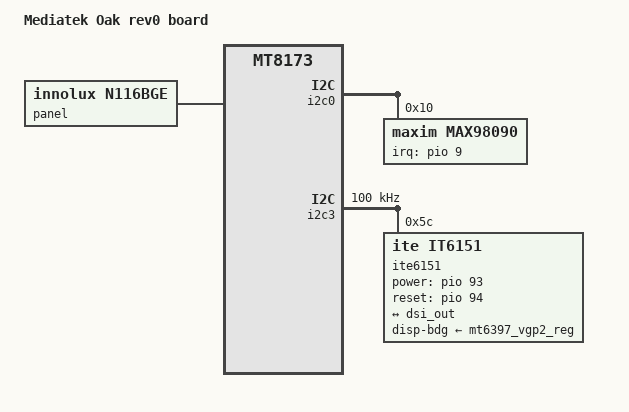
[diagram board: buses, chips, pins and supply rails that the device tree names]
/*
 * Copyright (c) 2014 MediaTek Inc.
 * Author: Eddie Huang <eddie.huang@mediatek.com>
 *
 * This program is free software; you can redistribute it and/or modify
 * it under the terms of the GNU General Public License version 2 as
 * published by the Free Software Foundation.
 *
 * This program is distributed in the hope that it will be useful,
 * but WITHOUT ANY WARRANTY; without even the implied warranty of
 * MERCHANTABILITY or FITNESS FOR A PARTICULAR PURPOSE.  See the
 * GNU General Public License for more details.
 */

/dts-v1/;
#include "mt8173-oak.dtsi"

/ {
	model = "Mediatek Oak rev0 board";
	compatible = "google,oak-rev0", "google,oak", "mediatek,mt8173";

	backlight_lcd: backlight_lcd {
		enable-gpios = <&pio6397 23 1>;
	};

	panel: panel {
		compatible = "innolux,n116bge";
	};

	sound {
		compatible = "mediatek,mt8173-max98090";
		mediatek,audio-codec = <&max98090>;
		dvdd-supply = <&mt6397_vgp1_reg>;
		avdd-supply = <&mt6397_vgp4_reg>;
		pinctrl-names = "default";
		pinctrl-0 = <&aud_i2s2>;
		status = "okay";
	};
};

&charger {
	status = "disabled";
};

&dsi {
	mediatek,width = <1368>;
	mediatek,height = <768>;
};

&i2c0 {
	max98090: audio-codec@10 {
		compatible = "maxim,max98090";
		reg = <0x10>;
		interrupt-parent = <&pio>;
		interrupts = <9 IRQ_TYPE_EDGE_FALLING>;
		pinctrl-names = "default";
		pinctrl-0 = <&max98090_irq>;
	};
};

&i2c3 {
	pinctrl-names = "default";
	pinctrl-0 = <&i2c3_pins_a>;
	status = "okay";
	clock-frequency = <100000>;
	#address-cells = <0x1>;
	#size-cells = <0>;

	ite6151: edp-bridge@5c {
		compatible = "ite,it6151";
		reg = <0x5c>;
		rxreg = <0x6c>;
		power-gpio = <&pio 93 GPIO_ACTIVE_HIGH>;
		reset-gpio = <&pio 94 GPIO_ACTIVE_HIGH>;
		disp-bdg-supply = <&mt6397_vgp2_reg>;
		mediatek,panel = <&panel>;
		edid = [00 ff ff ff ff ff ff 00 0d ae 32 11 00 00 00 00
			13 17 01 04 95 1a 0e 78 02 14 35 92 55 53 95 29
			24 50 54 00 00 00 01 01 01 01 01 01 01 01 01 01
			01 01 01 01 01 01 da 1d 56 e2 50 00 20 30 88 1e
			8c 00 00 90 10 00 00 18 00 00 00 fe 00 4e 31 31
			36 42 47 45 2d 45 41 32 0a 20 00 00 00 fe 00 43
			4d 4e 0a 20 20 20 20 20 20 20 20 20 00 00 00 fe
			00 4e 31 31 36 42 47 45 2d 45 41 32 0a 20 00 48];
		port {
			dsi_in: endpoint {
				remote-endpoint = <&dsi_out>;
			};
		};
	};
};


&mt6397_vpca7_reg {
	regulator-always-on = "false";
};

&pio {
	max98090_irq: max98090_irq {
		pins1 {
			pinmux = <MT8173_PIN_9_EINT9__FUNC_GPIO9>;
			bias-pull-up;
		};
	};
};

&pmic {
	interrupts = <5 IRQ_TYPE_LEVEL_HIGH>;
};

&rt5650 {
	status = "disabled";
};

&rt5650_irq {
	status = "disabled";
};

&rt5676 {
	status = "disabled";
};

&rt5676_irq {
	status = "disabled";
};

&trackpad {
	interrupts = <7 IRQ_TYPE_LEVEL_LOW>;
};
